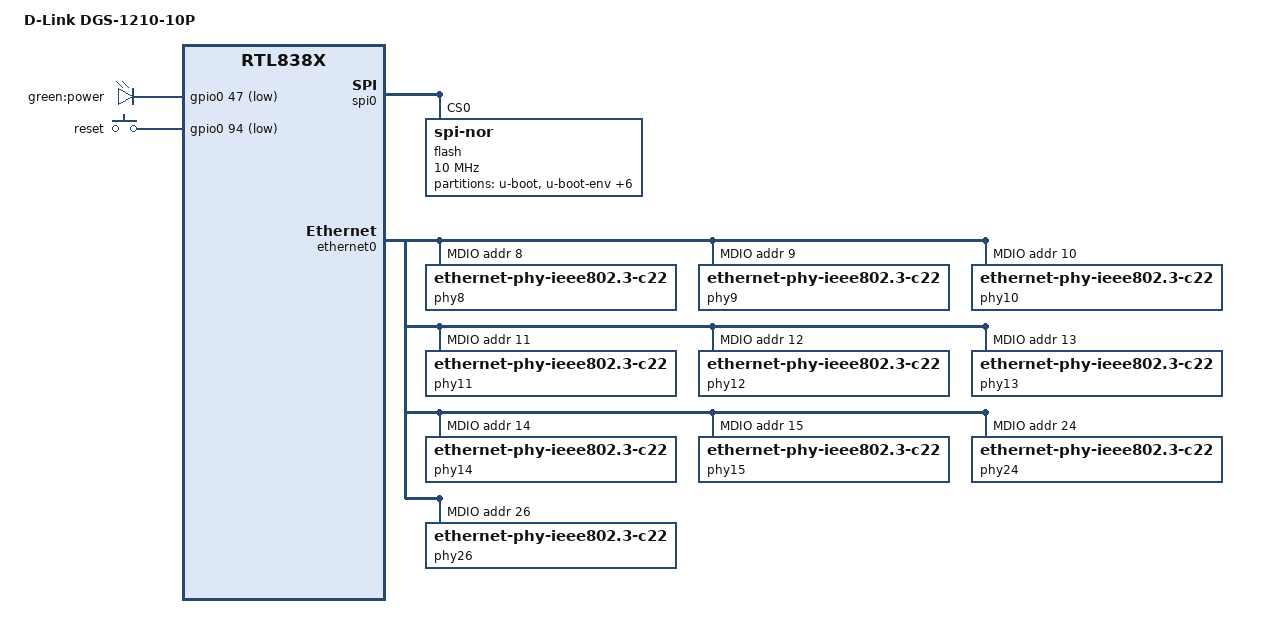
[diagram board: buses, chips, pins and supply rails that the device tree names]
// SPDX-License-Identifier: GPL-2.0-or-later OR MIT

#include "rtl838x.dtsi"

#include <dt-bindings/input/input.h>
#include <dt-bindings/gpio/gpio.h>

/ {
	compatible = "d-link,dgs-1210-10p", "realtek,rtl838x-soc";
	model = "D-Link DGS-1210-10P";

	aliases {
		led-boot = &led_power;
		led-failsafe = &led_power;
		led-running = &led_power;
		led-upgrade = &led_power;
	};

	chosen {
		bootargs = "console=ttyS0,115200";
	};

	leds {
		compatible = "gpio-leds";

		led_power: power {
			// GPIO 24 seems to provide power to the leds
			label = "green:power";
			gpios = <&gpio0 47 GPIO_ACTIVE_LOW>;
		};
	};

	keys {
		compatible = "gpio-keys-polled";
		poll-interval = <20>;

		mode {
			label = "reset";
			gpios = <&gpio0 94 GPIO_ACTIVE_LOW>;
			linux,code = <KEY_RESTART>;
		};
	};
};


&gpio0 {
	indirect-access-bus-id = <0>;
};

&spi0 {
	status = "okay";
	flash@0 {
		compatible = "jedec,spi-nor";
		reg = <0>;
		spi-max-frequency = <10000000>;

		partitions {
			compatible = "fixed-partitions";
			#address-cells = <1>;
			#size-cells = <1>;

			partition@0 {
				label = "u-boot";
				reg = <0x00000000 0x80000>;
				read-only;
			};
			partition@80000 {
				label = "u-boot-env";
				reg = <0x00080000 0x40000>;
				read-only;
			};
			partition@c0000 {
				label = "u-boot-env2";
				reg = <0x000c0000 0x40000>;
				read-only;
			};
			partition@280000 {
				label = "firmware";
				compatible = "denx,uimage";
				reg = <0x00100000 0xd80000>;
			};
			partition@be80000 {
				label = "kernel2";
				reg = <0x00e80000 0x180000>;
			};
			partition@1000000 {
				label = "sysinfo";
				reg = <0x01000000 0x40000>;
			};
			partition@1040000 {
				label = "rootfs2";
				reg = <0x01040000 0xc00000>;
			};
			partition@1c40000 {
				label = "jffs2";
				reg = <0x01c40000 0x3c0000>;
			};
		};
	};
};



&ethernet0 {
	mdio: mdio-bus {
		compatible = "realtek,rtl838x-mdio";
		regmap = <&ethernet0>;
		#address-cells = <1>;
		#size-cells = <0>;

		/* Internal phy */
		phy8: ethernet-phy@8 {
			reg = <8>;
			compatible = "ethernet-phy-ieee802.3-c22";
		};
		phy9: ethernet-phy@9 {
			reg = <9>;
			compatible = "ethernet-phy-ieee802.3-c22";
		};
		phy10: ethernet-phy@10 {
			reg = <10>;
			compatible = "ethernet-phy-ieee802.3-c22";
		};
		phy11: ethernet-phy@11 {
			reg = <11>;
			compatible = "ethernet-phy-ieee802.3-c22";
		};
		phy12: ethernet-phy@12 {
			reg = <12>;
			compatible = "ethernet-phy-ieee802.3-c22";
		};
		phy13: ethernet-phy@13 {
			reg = <13>;
			compatible = "ethernet-phy-ieee802.3-c22";
		};
		phy14: ethernet-phy@14 {
			reg = <14>;
			compatible = "ethernet-phy-ieee802.3-c22";
		};
		phy15: ethernet-phy@15 {
			reg = <15>;
			compatible = "ethernet-phy-ieee802.3-c22";
		};
		phy24: ethernet-phy@24 {
			compatible = "ethernet-phy-ieee802.3-c22";
			phy-is-integrated;
			reg = <24>;
		};
		phy26: ethernet-phy@26 {
			compatible = "ethernet-phy-ieee802.3-c22";
			phy-is-integrated;
			reg = <26>;
		};
	};
};

&switch0 {
	ports {
		#address-cells = <1>;
		#size-cells = <0>;

		port@0 {
			reg = <8>;
			label = "lan1";
			phy-handle = <&phy8>;
			phy-mode = "internal";
		};
		port@1 {
			reg = <9>;
			label = "lan2";
			phy-handle = <&phy9>;
			phy-mode = "internal";
		};
		port@2 {
			reg = <10>;
			label = "lan3";
			phy-handle = <&phy10>;
			phy-mode = "internal";
		};
		port@3 {
			reg = <11>;
			label = "lan4";
			phy-handle = <&phy11>;
			phy-mode = "internal";
		};
		port@4 {
			reg = <12>;
			label = "lan5";
			phy-handle = <&phy12>;
			phy-mode = "internal";
		};
		port@5 {
			reg = <13>;
			label = "lan6";
			phy-handle = <&phy13>;
			phy-mode = "internal";
		};
		port@6 {
			reg = <14>;
			label = "lan7";
			phy-handle = <&phy14>;
			phy-mode = "internal";
		};
		port@7 {
			reg = <15>;
			label = "lan8";
			phy-handle = <&phy15>;
			phy-mode = "internal";
		};

		port@24 {
			reg = <24>;
			label = "lan9";
			phy-mode = "internal";
			phy-handle = <&phy24>;
		};
		port@26 {
			reg = <26>;
			label = "lan10";
			phy-mode = "internal";
			phy-handle = <&phy26>;
		};
		port@28 {
			ethernet = <&ethernet0>;
			reg = <28>;
			phy-mode = "internal";
			fixed-link {
				speed = <1000>;
				full-duplex;
			};
		};
	};
};
